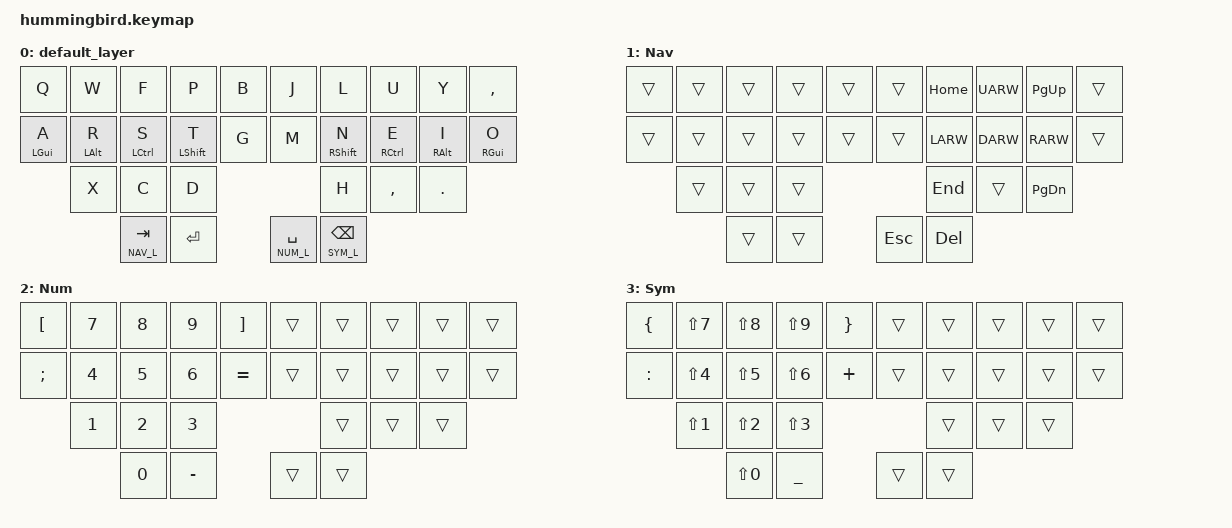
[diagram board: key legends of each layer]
/*
 * Copyright (c) 2020 The ZMK Contributors
 *
 * SPDX-License-Identifier: MIT
 */

#include <behaviors.dtsi>
#include <dt-bindings/zmk/keys.h>

#define DEF_L 0
#define NAV_L 1
#define NUM_L 2
#define SYM_L 3
#define OTH_L 4

// Using layer taps on thumbs, having quick tap as well helps w/ repeating space/backspace
&lt { quick_tap_ms = <200>; };

/ {
    behaviors {
        hm: homerow_mods {
            compatible = "zmk,behavior-hold-tap";
            label = "homerow mods";
            #binding-cells = <2>;
            tapping_term_ms = <225>;
            flavor = "tap-preferred";
            bindings = <&kp>, <&kp>;
        };
    };

    combos {
        compatible = "zmk,combos";
        combo_z {
            timeout-ms = <50>;
            key-positions = <0 10>;
            bindings = <&kp Z>;
        };
        combo_b {
            timeout-ms = <50>;
            key-positions = <4 14>;
            bindings = <&kp B>;
        };

        combo_n {
            timeout-ms = <50>;
            key-positions = <5 15>;
            bindings = <&kp N>;
        };
    };
};

/ {
    keymap {
        compatible = "zmk,keymap";

        default_layer {
            bindings = <
    &kp Q      &kp W      &kp F       &kp P       &kp B  &kp J  &kp L       &kp U       &kp Y      &kp COMMA
    &hm LGUI A &hm LALT R &hm LCTRL S &hm LSHFT T &kp G  &kp M  &hm RSHFT N &hm RCTRL E &hm RALT I &hm RGUI O
                &kp X       &kp C       &kp D                        &kp H  &kp COMMA  &kp DOT
                             &lt NAV_L TAB  &kp RET &lt NUM_L SPACE  &lt SYM_L BKSP
            >;
        };

        nav_layer {
            label = "Nav";
            bindings = <
                &trans     &trans     &trans      &trans          &trans       &trans           &kp HOME     &kp UARW &kp PG_UP  &trans
                &trans     &trans     &trans      &trans          &trans       &trans           &kp LARW     &kp DARW &kp RARW   &trans
                           &trans     &trans      &trans                                        &kp END      &trans   &kp PG_DN
                                                  &trans          &trans       &kp ESC          &kp DEL
            >;
        };

        num_layer {
            label = "Num";
            bindings = <
                &kp LBKT   &kp N7     &kp N8      &kp N9          &kp RBKT      &trans          &trans         &trans      &trans     &trans
                &kp SEMI   &kp N4     &kp N5      &kp N6          &kp EQUAL     &trans          &trans         &trans      &trans     &trans
                           &kp N1     &kp N2      &kp N3                                        &trans         &trans      &trans
                                                  &kp N0          &kp MINUS     &trans          &trans
            >;
        };

        sym_layer {
            label = "Sym";
            bindings = <
                &kp LBRC     &kp LS(N7)  &kp LS(N8)  &kp LS(N9) &kp RBRC       &trans &trans   &trans    &trans    &trans
                &kp COLON     &kp LS(N4)  &kp LS(N5)  &kp LS(N6) &kp PLUS       &trans &trans   &trans    &trans    &trans
                              &kp LS(N1)  &kp LS(N2)  &kp LS(N3)                           &trans   &trans    &trans
                                                   &kp LS(N0) &kp UNDER   &trans &trans
            >;
        };

	/*
        other_layer {
            label = "Other";
            bindings = <
                &bt BT_CLR &trans     &trans      &trans          &trans       &trans           &trans         &trans       &trans       &trans
                &trans     &trans     &trans      &trans          &trans       &trans           &trans         &trans       &trans       &trans
                &trans     &trans     &trans      &trans          &trans       &bt BT_SEL 0     &bt BT_SEL 1   &bt BT_SEL 2 &bt BT_SEL 3 &bt BT_SEL 4
                                                  &trans          &trans       &trans           &trans
            >;
        };
	*/

    };
};
